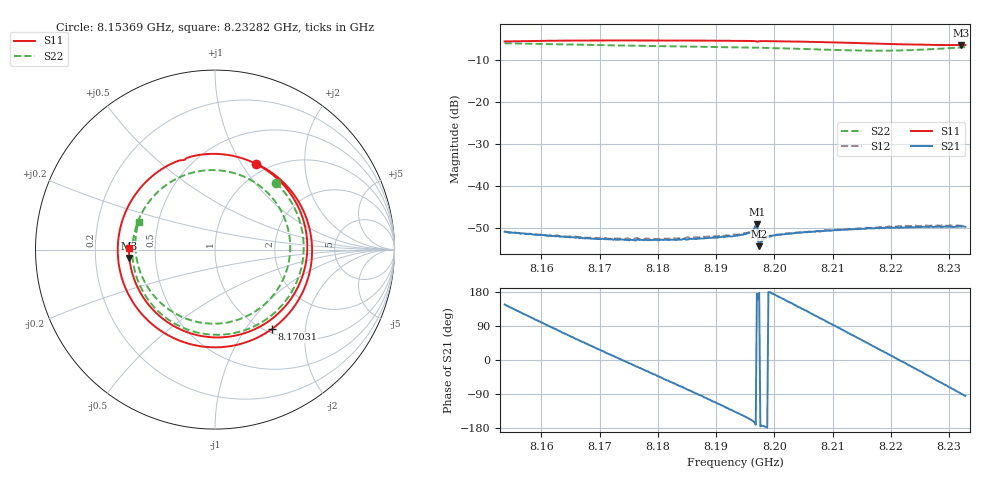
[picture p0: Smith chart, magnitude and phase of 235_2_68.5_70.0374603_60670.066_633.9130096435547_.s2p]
#  HZ  S  RI  R  50.00
! Rohde & Schwarz Vector Network Analyzer
! Rohde-Schwarz,ZNB20-2Port,1311601062101988,3.16
! Created: UTC 3/20/2024, 4:59:07 PM
! freq[Hz]  re:S11  im:S11  re:S21  im:S21  re:S12  im:S12  re:S22  im:S22
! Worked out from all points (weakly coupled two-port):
!   401 points, 8.15369 GHz to 8.23282 GHz, reference 50 ohm
!   highest |S21| = -49.20 dB at 8.19701 GHz (marker M1); lowest = -54.4 dB at 8.19741 GHz (marker M2)
!   lowest |S11| = -6.4 dB at 8.23203 GHz (marker M3), VSWR 2.84, Z = 17.6 - j2.12 ohm
!   |S11| at or under -10 dB: nowhere
!   |S22| runs from -7.7 to -6.0 dB; largest |S21 - S12| = 0.00025
!   S11 on the Smith chart (normalised r, x): 8.15369 GHz: 0.87, +1.16; 8.17031 GHz: 1.06, -1.34; 8.23282 GHz: 0.35, +0.01
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8.15369e9  0.2282 0.4788  -0.00237 0.00156  -0.00236 0.0016  0.3386 0.3725
8.160614e9  0.5215 0.1368  -0.000219 0.00257  -0.00022 0.00254  0.4936 -0.0112
8.166944e9  0.4689 -0.2747  0.00159 0.00179  0.0016 0.00186  0.3392 -0.3451
8.170307e9  0.3173 -0.4422  0.0021 0.000972  0.00214 0.00102  0.173 -0.4466
8.175253e9  0.00174 -0.5445  0.00222 -0.000363  0.00227 -0.000356  -0.1062 -0.4602
8.180198e9  -0.317 -0.4417  0.00162 -0.00154  0.00169 -0.0016  -0.3418 -0.3176
8.186924e9  -0.5399 -0.0475  -4.12e-05 -0.00235  -0.000101 -0.00241  -0.4586 0.0282
8.193254e9  -0.4007 0.3608  -0.00183 -0.00173  -0.00197 -0.00172  -0.3041 0.3348
8.196617e9  -0.2051 0.4943  -0.003 -0.00081  -0.00308 -0.000674  -0.1399 0.4248
8.197013e9  -0.1764 0.4984  -0.00346 0.000294  -0.0035 0.000489  -0.1183 0.4303
8.197408e9  -0.1596 0.5086  -0.0019 9.91e-05  -0.00191 0.000193  -0.0967 0.4352
8.197804e9  -0.1314 0.5185  -0.00212 -0.000253  -0.00221 -0.000151  -0.0746 0.4389
8.20176e9  0.1463 0.5104  -0.00247 0.000933  -0.00247 0.00107  0.1467 0.4124
8.206508e9  0.4157 0.3183  -0.00148 0.00242  -0.0014 0.0025  0.3551 0.2385
8.209673e9  0.505 0.1131  -0.000307 0.00289  -0.000211 0.00293  0.4165 0.0614
8.212838e9  0.4981 -0.1116  0.00101 0.00284  0.00111 0.00285  0.3945 -0.1295
8.216003e9  0.3943 -0.3126  0.0022 0.00217  0.00229 0.00216  0.287 -0.2952
8.219762e9  0.172 -0.4635  0.00306 0.000763  0.0032 0.000656  0.0725 -0.4054
8.2253e9  -0.2173 -0.4326  0.00276 -0.00167  0.00276 -0.00185  -0.2789 -0.3172
8.228861e9  -0.4041 -0.2596  0.00154 -0.00283  0.00146 -0.00306  -0.419 -0.1175
8.232026e9  -0.4769 -0.0463  9.13e-05 -0.00326  -8.04e-05 -0.00333  -0.4376 0.1017
8.232818e9  -0.4792 0.0103  -0.000262 -0.00322  -0.000479 -0.00331  -0.4253 0.1561
